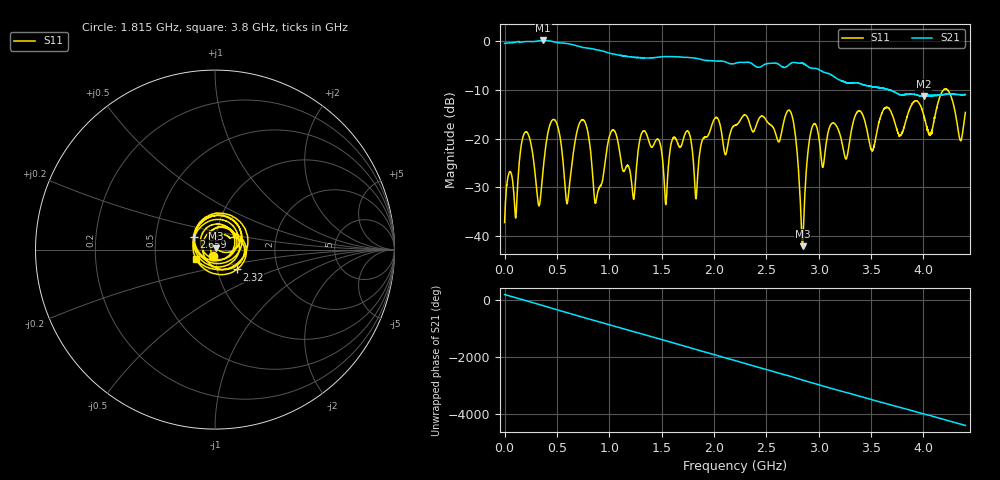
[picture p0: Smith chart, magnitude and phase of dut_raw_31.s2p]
!Created with skrf (http://scikit-rf.org).
# Hz S RI R 50.0
!freq ReS11 ImS11 ReS21 ImS21 ReS12 ImS12 ReS22 ImS22
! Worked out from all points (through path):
!   4400 points, 1 MHz to 4.4 GHz, reference 50 ohm
!   highest |S21| = 0.15 dB at 369 MHz (marker M1); lowest = -11.3 dB at 4.004 GHz (marker M2)
!   lowest |S11| = -42.0 dB at 2.846 GHz (marker M3), VSWR 1.02, Z = 50.3 + j0.732 ohm
!   |S11| at or under -10 dB: start of sweep to 4.191 GHz; 4.23 GHz to end of sweep
!   S12 and S22 are empty: the file has one direction only
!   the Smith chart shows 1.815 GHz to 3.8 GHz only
!   S11 on the Smith chart (normalised r, x): 1.815 GHz: 0.97, -0.07; 2.32 GHz: 1.24, -0.28; 2.659 GHz: 0.78, +0.11; 3.8 GHz: 0.80, -0.08
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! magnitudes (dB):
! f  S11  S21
! 1 MHz  -37.2  -0.4
! 197 MHz  -18.7  -0.1
! 369 MHz  -26.2  0.1
! 481 MHz  -16.2  -0.2
! 601 MHz  -33.1  -0.5
! 735 MHz  -16.2  -1.2
! 874 MHz  -32.9  -1.7
! 1.028 GHz  -18.3  -2.6
! 1.23 GHz  -32.2  -3.3
! 1.468 GHz  -20.1  -3.3
! 1.538 GHz  -33.4  -3.2
! 1.815 GHz  -28.6  -3.5
! 2.201 GHz  -17.3  -4.5
! 2.32 GHz  -15.7  -4.3
! 2.659 GHz  -17.2  -5.3
! 2.754 GHz  -16.1  -4.4
! 2.846 GHz  -42.0  -4.5
! 2.934 GHz  -17.8  -5.5
! 3.667 GHz  -13.7  -9.9
! 3.8 GHz  -18.6  -11.0
! 4.004 GHz  -15.3  -11.3
! 4.4 GHz  -14.6  -10.9
